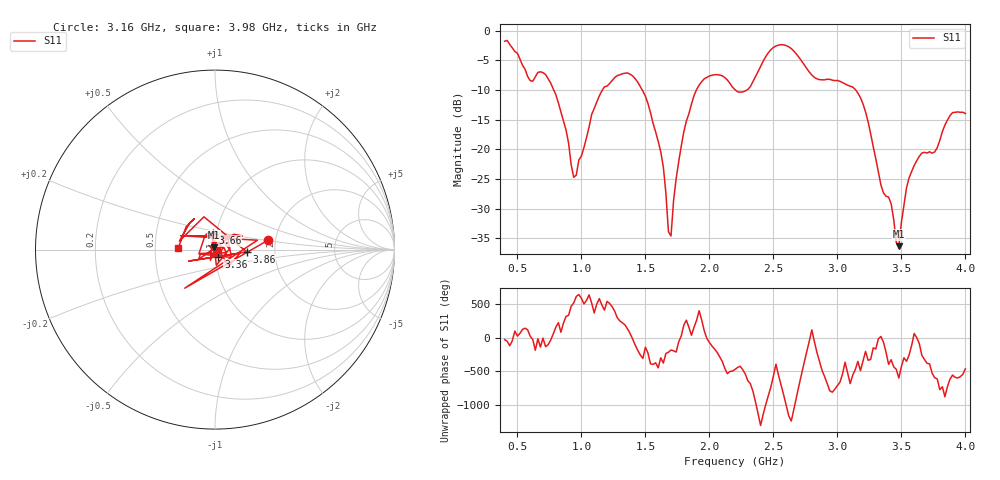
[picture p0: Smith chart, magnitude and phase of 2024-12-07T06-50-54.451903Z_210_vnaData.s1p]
!Created with skrf (http://scikit-rf.org).
# Hz S RI R 50.0
!freq ReS11 ImS11
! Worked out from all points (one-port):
!   181 points, 400 MHz to 4 GHz, reference 50 ohm
!   lowest |S11| = -36.3 dB at 3.48 GHz (marker M1), VSWR 1.03, Z = 49.2 + j1.27 ohm
!   |S11| at or under -10 dB: 784.1 MHz to 1.164 GHz (379.7 MHz wide, 39 % of centre); 1.476 GHz to 1.898 GHz (422.5 MHz wide, 25 % of centre); 3.143 GHz to end of sweep (the widest 3 of 4)
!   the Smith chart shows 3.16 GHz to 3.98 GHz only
!   S11 on the Smith chart (normalised r, x): 3.16 GHz: 1.82, +0.20; 3.36 GHz: 1.04, -0.08; 3.66 GHz: 0.96, +0.18; 3.86 GHz: 1.43, -0.04; 3.98 GHz: 0.66, +0.01
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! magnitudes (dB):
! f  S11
! 400 MHz  -1.8
! 600 MHz  -8.4
! 720 MHz  -7.4
! 860 MHz  -15.2
! 940 MHz  -24.7
! 1.14 GHz  -11.0
! 1.3 GHz  -7.4
! 1.52 GHz  -12.3
! 1.62 GHz  -20.4
! 1.68 GHz  -33.9
! 1.7 GHz  -34.6
! 1.76 GHz  -22.1
! 1.82 GHz  -15.2
! 1.94 GHz  -8.6
! 2.2 GHz  -9.9
! 2.5 GHz  -2.8
! 2.66 GHz  -3.4
! 3.1 GHz  -9.3
! 3.16 GHz  -10.5
! 3.36 GHz  -27.4
! 3.42 GHz  -29.2
! 3.48 GHz  -36.3
! 3.56 GHz  -24.8
! 3.66 GHz  -20.6
! 3.76 GHz  -20.4
! 3.86 GHz  -15.1
! 3.98 GHz  -13.7
! 4 GHz  -14.0
